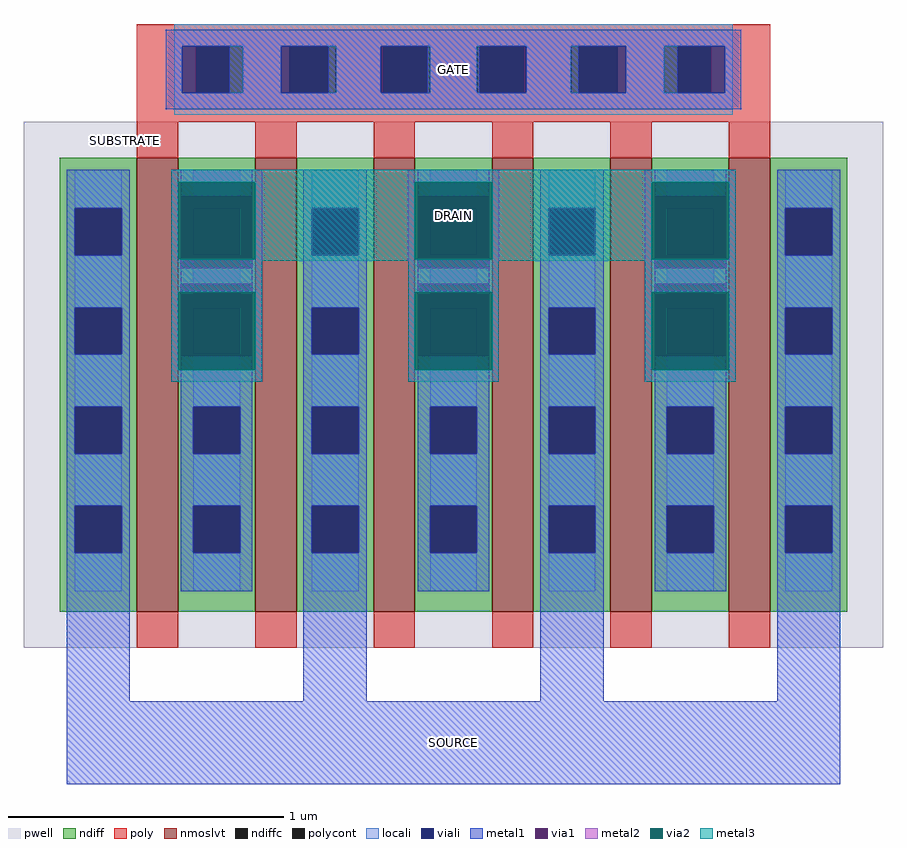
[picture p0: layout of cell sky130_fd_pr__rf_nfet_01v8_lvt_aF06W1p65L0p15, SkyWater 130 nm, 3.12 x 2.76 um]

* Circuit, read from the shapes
.subckt sky130_fd_pr__rf_nfet_01v8_lvt_aF06W1p65L0p15 DRAIN GATE SOURCE SUBSTRATE
XM1 DRAIN GATE SOURCE SUBSTRATE sky130_fd_pr__nfet_01v8_lvt w=1.65 l=0.15 m=6
.ends

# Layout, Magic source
magic
tech sky130A
magscale 1 2
<< pwell >>
rect 10 10 634 392
<< nmoslvt >>
rect 92 36 122 366
rect 178 36 208 366
rect 264 36 294 366
rect 350 36 380 366
rect 436 36 466 366
rect 522 36 552 366
<< ndiff >>
rect 36 329 92 366
rect 36 295 47 329
rect 81 295 92 329
rect 36 257 92 295
rect 36 223 47 257
rect 81 223 92 257
rect 36 185 92 223
rect 36 151 47 185
rect 81 151 92 185
rect 36 113 92 151
rect 36 79 47 113
rect 81 79 92 113
rect 36 36 92 79
rect 122 329 178 366
rect 122 295 133 329
rect 167 295 178 329
rect 122 257 178 295
rect 122 223 133 257
rect 167 223 178 257
rect 122 185 178 223
rect 122 151 133 185
rect 167 151 178 185
rect 122 113 178 151
rect 122 79 133 113
rect 167 79 178 113
rect 122 36 178 79
rect 208 329 264 366
rect 208 295 219 329
rect 253 295 264 329
rect 208 257 264 295
rect 208 223 219 257
rect 253 223 264 257
rect 208 185 264 223
rect 208 151 219 185
rect 253 151 264 185
rect 208 113 264 151
rect 208 79 219 113
rect 253 79 264 113
rect 208 36 264 79
rect 294 329 350 366
rect 294 295 305 329
rect 339 295 350 329
rect 294 257 350 295
rect 294 223 305 257
rect 339 223 350 257
rect 294 185 350 223
rect 294 151 305 185
rect 339 151 350 185
rect 294 113 350 151
rect 294 79 305 113
rect 339 79 350 113
rect 294 36 350 79
rect 380 329 436 366
rect 380 295 391 329
rect 425 295 436 329
rect 380 257 436 295
rect 380 223 391 257
rect 425 223 436 257
rect 380 185 436 223
rect 380 151 391 185
rect 425 151 436 185
rect 380 113 436 151
rect 380 79 391 113
rect 425 79 436 113
rect 380 36 436 79
rect 466 329 522 366
rect 466 295 477 329
rect 511 295 522 329
rect 466 257 522 295
rect 466 223 477 257
rect 511 223 522 257
rect 466 185 522 223
rect 466 151 477 185
rect 511 151 522 185
rect 466 113 522 151
rect 466 79 477 113
rect 511 79 522 113
rect 466 36 522 79
rect 552 329 608 366
rect 552 295 563 329
rect 597 295 608 329
rect 552 257 608 295
rect 552 223 563 257
rect 597 223 608 257
rect 552 185 608 223
rect 552 151 563 185
rect 597 151 608 185
rect 552 113 608 151
rect 552 79 563 113
rect 597 79 608 113
rect 552 36 608 79
<< ndiffc >>
rect 47 295 81 329
rect 47 223 81 257
rect 47 151 81 185
rect 47 79 81 113
rect 133 295 167 329
rect 133 223 167 257
rect 133 151 167 185
rect 133 79 167 113
rect 219 295 253 329
rect 219 223 253 257
rect 219 151 253 185
rect 219 79 253 113
rect 305 295 339 329
rect 305 223 339 257
rect 305 151 339 185
rect 305 79 339 113
rect 391 295 425 329
rect 391 223 425 257
rect 391 151 425 185
rect 391 79 425 113
rect 477 295 511 329
rect 477 223 511 257
rect 477 151 511 185
rect 477 79 511 113
rect 563 295 597 329
rect 563 223 597 257
rect 563 151 597 185
rect 563 79 597 113
<< poly >>
rect 92 447 552 463
rect 92 413 135 447
rect 169 413 203 447
rect 237 413 271 447
rect 305 413 339 447
rect 373 413 407 447
rect 441 413 475 447
rect 509 413 552 447
rect 92 392 552 413
rect 92 366 122 392
rect 178 366 208 392
rect 264 366 294 392
rect 350 366 380 392
rect 436 366 466 392
rect 522 366 552 392
rect 92 10 122 36
rect 178 10 208 36
rect 264 10 294 36
rect 350 10 380 36
rect 436 10 466 36
rect 522 10 552 36
<< polycont >>
rect 135 413 169 447
rect 203 413 237 447
rect 271 413 305 447
rect 339 413 373 447
rect 407 413 441 447
rect 475 413 509 447
<< locali >>
rect 119 447 525 463
rect 119 413 125 447
rect 169 413 197 447
rect 237 413 269 447
rect 305 413 339 447
rect 375 413 407 447
rect 447 413 475 447
rect 519 413 525 447
rect 119 397 525 413
rect 47 329 81 357
rect 47 257 81 295
rect 47 185 81 223
rect 47 113 81 151
rect 47 51 81 79
rect 133 329 167 357
rect 133 257 167 295
rect 133 185 167 223
rect 133 113 167 151
rect 133 51 167 79
rect 219 329 253 357
rect 219 257 253 295
rect 219 185 253 223
rect 219 113 253 151
rect 219 51 253 79
rect 305 329 339 357
rect 305 257 339 295
rect 305 185 339 223
rect 305 113 339 151
rect 305 51 339 79
rect 391 329 425 357
rect 391 257 425 295
rect 391 185 425 223
rect 391 113 425 151
rect 391 51 425 79
rect 477 329 511 357
rect 477 257 511 295
rect 477 185 511 223
rect 477 113 511 151
rect 477 51 511 79
rect 563 329 597 357
rect 563 257 597 295
rect 563 185 597 223
rect 563 113 597 151
rect 563 51 597 79
<< viali >>
rect 125 413 135 447
rect 135 413 159 447
rect 197 413 203 447
rect 203 413 231 447
rect 269 413 271 447
rect 271 413 303 447
rect 341 413 373 447
rect 373 413 375 447
rect 413 413 441 447
rect 441 413 447 447
rect 485 413 509 447
rect 509 413 519 447
rect 47 295 81 329
rect 47 223 81 257
rect 47 151 81 185
rect 47 79 81 113
rect 133 295 167 329
rect 133 223 167 257
rect 133 151 167 185
rect 133 79 167 113
rect 219 295 253 329
rect 219 223 253 257
rect 219 151 253 185
rect 219 79 253 113
rect 305 295 339 329
rect 305 223 339 257
rect 305 151 339 185
rect 305 79 339 113
rect 391 295 425 329
rect 391 223 425 257
rect 391 151 425 185
rect 391 79 425 113
rect 477 295 511 329
rect 477 223 511 257
rect 477 151 511 185
rect 477 79 511 113
rect 563 295 597 329
rect 563 223 597 257
rect 563 151 597 185
rect 563 79 597 113
<< metal1 >>
rect 113 447 531 459
rect 113 413 125 447
rect 159 413 197 447
rect 231 413 269 447
rect 303 413 341 447
rect 375 413 413 447
rect 447 413 485 447
rect 519 413 531 447
rect 113 401 531 413
rect 41 329 87 357
rect 41 295 47 329
rect 81 295 87 329
rect 41 257 87 295
rect 41 223 47 257
rect 81 223 87 257
rect 41 185 87 223
rect 41 151 47 185
rect 81 151 87 185
rect 41 113 87 151
rect 41 79 47 113
rect 81 79 87 113
rect 41 -29 87 79
rect 124 338 176 357
rect 124 274 176 286
rect 124 185 176 222
rect 124 151 133 185
rect 167 151 176 185
rect 124 113 176 151
rect 124 79 133 113
rect 167 79 176 113
rect 124 51 176 79
rect 213 329 259 357
rect 213 295 219 329
rect 253 295 259 329
rect 213 257 259 295
rect 213 223 219 257
rect 253 223 259 257
rect 213 185 259 223
rect 213 151 219 185
rect 253 151 259 185
rect 213 113 259 151
rect 213 79 219 113
rect 253 79 259 113
rect 213 -29 259 79
rect 296 338 348 357
rect 296 274 348 286
rect 296 185 348 222
rect 296 151 305 185
rect 339 151 348 185
rect 296 113 348 151
rect 296 79 305 113
rect 339 79 348 113
rect 296 51 348 79
rect 385 329 431 357
rect 385 295 391 329
rect 425 295 431 329
rect 385 257 431 295
rect 385 223 391 257
rect 425 223 431 257
rect 385 185 431 223
rect 385 151 391 185
rect 425 151 431 185
rect 385 113 431 151
rect 385 79 391 113
rect 425 79 431 113
rect 385 -29 431 79
rect 468 338 520 357
rect 468 274 520 286
rect 468 185 520 222
rect 468 151 477 185
rect 511 151 520 185
rect 468 113 520 151
rect 468 79 477 113
rect 511 79 520 113
rect 468 51 520 79
rect 557 329 603 357
rect 557 295 563 329
rect 597 295 603 329
rect 557 257 603 295
rect 557 223 563 257
rect 597 223 603 257
rect 557 185 603 223
rect 557 151 563 185
rect 597 151 603 185
rect 557 113 603 151
rect 557 79 563 113
rect 597 79 603 113
rect 557 -29 603 79
rect 41 -89 603 -29
<< via1 >>
rect 124 329 176 338
rect 124 295 133 329
rect 133 295 167 329
rect 167 295 176 329
rect 124 286 176 295
rect 124 257 176 274
rect 124 223 133 257
rect 133 223 167 257
rect 167 223 176 257
rect 124 222 176 223
rect 296 329 348 338
rect 296 295 305 329
rect 305 295 339 329
rect 339 295 348 329
rect 296 286 348 295
rect 296 257 348 274
rect 296 223 305 257
rect 305 223 339 257
rect 339 223 348 257
rect 296 222 348 223
rect 468 329 520 338
rect 468 295 477 329
rect 477 295 511 329
rect 511 295 520 329
rect 468 286 520 295
rect 468 257 520 274
rect 468 223 477 257
rect 477 223 511 257
rect 511 223 520 257
rect 468 222 520 223
<< metal2 >>
rect 117 348 183 357
rect 117 292 122 348
rect 178 292 183 348
rect 117 286 124 292
rect 176 286 183 292
rect 117 274 183 286
rect 117 268 124 274
rect 176 268 183 274
rect 117 212 122 268
rect 178 212 183 268
rect 117 203 183 212
rect 289 348 355 357
rect 289 292 294 348
rect 350 292 355 348
rect 289 286 296 292
rect 348 286 355 292
rect 289 274 355 286
rect 289 268 296 274
rect 348 268 355 274
rect 289 212 294 268
rect 350 212 355 268
rect 289 203 355 212
rect 461 348 527 357
rect 461 292 466 348
rect 522 292 527 348
rect 461 286 468 292
rect 520 286 527 292
rect 461 274 527 286
rect 461 268 468 274
rect 520 268 527 274
rect 461 212 466 268
rect 522 212 527 268
rect 461 203 527 212
<< via2 >>
rect 122 338 178 348
rect 122 292 124 338
rect 124 292 176 338
rect 176 292 178 338
rect 122 222 124 268
rect 124 222 176 268
rect 176 222 178 268
rect 122 212 178 222
rect 294 338 350 348
rect 294 292 296 338
rect 296 292 348 338
rect 348 292 350 338
rect 294 222 296 268
rect 296 222 348 268
rect 348 222 350 268
rect 294 212 350 222
rect 466 338 522 348
rect 466 292 468 338
rect 468 292 520 338
rect 520 292 522 338
rect 466 222 468 268
rect 468 222 520 268
rect 520 222 522 268
rect 466 212 522 222
<< metal3 >>
rect 117 348 527 357
rect 117 292 122 348
rect 178 292 294 348
rect 350 292 466 348
rect 522 292 527 348
rect 117 291 527 292
rect 117 268 183 291
rect 117 212 122 268
rect 178 212 183 268
rect 117 203 183 212
rect 289 268 355 291
rect 289 212 294 268
rect 350 212 355 268
rect 289 203 355 212
rect 461 268 527 291
rect 461 212 466 268
rect 522 212 527 268
rect 461 203 527 212
<< labels >>
flabel metal3 s 117 291 527 357 0 FreeSans 400 0 0 0 DRAIN
port 1 nsew
flabel metal1 s 113 401 531 459 0 FreeSans 400 0 0 0 GATE
port 2 nsew
flabel metal1 s 41 -89 603 -29 0 FreeSans 400 0 0 0 SOURCE
port 3 nsew
flabel pwell s 79 370 89 387 0 FreeSans 200 0 0 0 SUBSTRATE
port 4 nsew
<< properties >>
string GDS_FILE $PDKPATH/libs.ref/sky130_fd_pr/gds/sky130_fd_pr.gds
string GDS_END 5899814
string GDS_START 5888744
string path 1.025 -1.475 15.075 -1.475 
<< end >>
